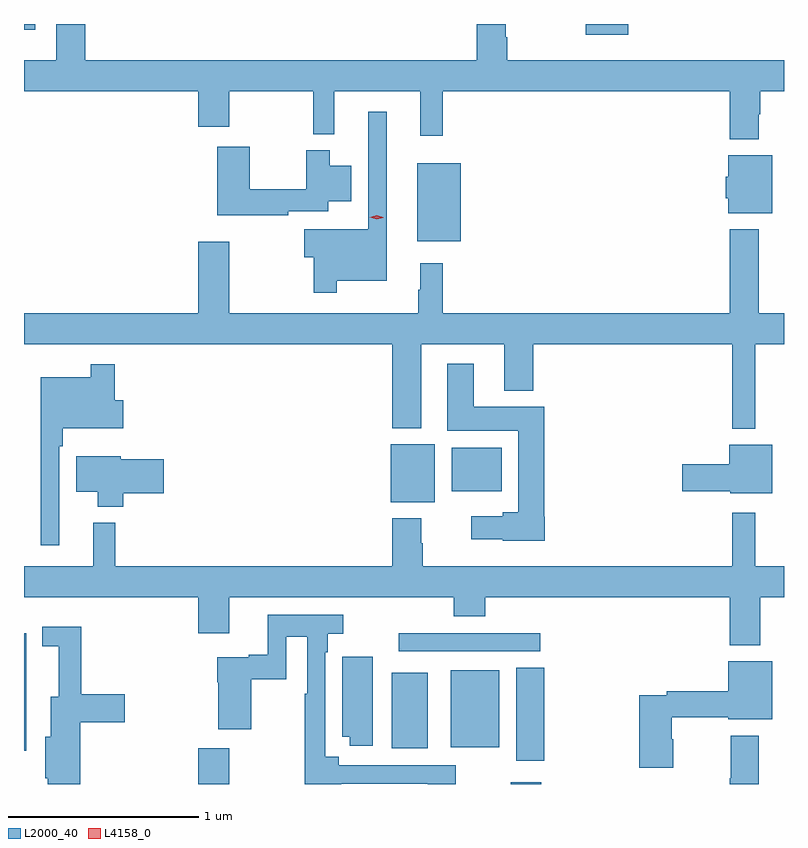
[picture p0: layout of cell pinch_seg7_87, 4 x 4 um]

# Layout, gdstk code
import gdstk
lib = gdstk.Library(unit=1e-6, precision=1e-09)
def R(c, l, rs):  # rectangles x0, y0, x1, y1
    for r in rs: c.add(gdstk.rectangle(r[:2], r[2:], *l))
def P(c, l, *ps):  # polygons
    for p in ps: c.add(gdstk.Polygon(p, *l))
L2000_40 = (2000, 40)
L4158_0 = (4158, 0)

pinch_seg7_87 = lib.new_cell('pinch_seg7_87')
R(pinch_seg7_87, L2000_40, [(908.264,1012.954,908.428,1013.143), (909.91,1012.954,910.07,1012.963), (909.938,1013.076,910.085,1013.567), (909.284,1013.141,909.472,1013.539), (909.593,1013.147,909.85,1013.554), (909.321,1013.652,910.066,1013.748), (909.278,1014.437,909.511,1014.742), (909.599,1014.494,909.862,1014.724), (909.419,1015.811,909.646,1016.221), (910.304,1016.897,910.529,1016.954), (907.348,1016.924,907.408,1016.954)])
P(pinch_seg7_87, L2000_40, [(911.215,1016.48),(911.223,1016.48),(911.223,1016.6),(911.348,1016.6),(911.348,1016.764),(909.891,1016.764),(909.891,1016.885),(909.883,1016.885),(909.883,1016.954),(909.731,1016.954),(909.731,1016.764),(907.67,1016.764),(907.67,1016.954),(907.517,1016.954),(907.517,1016.764),(907.348,1016.764),(907.348,1016.6),(908.264,1016.6),(908.264,1016.412),(908.428,1016.412),(908.428,1016.6),(908.871,1016.6),(908.871,1016.375),(908.981,1016.375),(908.981,1016.6),(909.434,1016.6),(909.434,1016.367),(909.551,1016.367),(909.551,1016.6),(911.063,1016.6),(911.063,1016.348),(911.215,1016.348)],
  [(908.995,1015.604),(909.256,1015.604),(909.256,1016.491),(909.159,1016.491),(909.159,1015.873),(908.822,1015.873),(908.822,1015.726),(908.874,1015.726),(908.874,1015.539),(908.995,1015.539)],
  [(908.738,1015.968),(908.95,1015.968),(908.95,1016.021),(909.07,1016.021),(909.07,1016.209),(908.956,1016.209),(908.956,1016.29),(908.834,1016.29),(908.834,1016.084),(908.536,1016.084),(908.536,1016.308),(908.366,1016.308),(908.366,1015.948),(908.738,1015.948)],
  [(911.287,1016.263),(911.054,1016.263),(911.054,1016.151),(911.042,1016.151),(911.042,1016.037),(911.054,1016.037),(911.054,1015.958),(911.287,1015.958)],
  [(911.197,1015.268),(911.348,1015.268),(911.348,1015.432),(911.215,1015.432),(911.215,1015.873),(911.063,1015.873),(911.063,1015.432),(909.551,1015.432),(909.551,1015.696),(909.434,1015.696),(909.434,1015.556),(909.423,1015.556),(909.423,1015.432),(908.428,1015.432),(908.428,1015.807),(908.264,1015.807),(908.264,1015.432),(907.348,1015.432),(907.348,1015.268),(909.287,1015.268),(909.287,1014.827),(909.439,1014.827),(909.439,1015.268),(909.875,1015.268),(909.875,1015.025),(910.028,1015.025),(910.028,1015.268),(911.076,1015.268),(911.076,1014.824),(911.197,1014.824)],
  [(910.09,1014.36),(910.085,1014.36),(910.085,1014.94),(909.715,1014.94),(909.715,1015.165),(909.575,1015.165),(909.575,1014.812),(909.95,1014.812),(909.95,1014.385),(909.867,1014.385),(909.867,1014.364),(909.702,1014.364),(909.702,1014.242),(909.867,1014.242),(909.867,1014.233),(910.09,1014.233)],
  [(907.533,1014.731),(907.553,1014.731),(907.553,1014.827),(907.87,1014.827),(907.87,1014.975),(907.826,1014.975),(907.826,1015.162),(907.698,1015.162),(907.698,1015.096),(907.436,1015.096),(907.436,1014.21),(907.533,1014.21)],
  [(911.287,1014.739),(911.06,1014.739),(911.06,1014.638),(910.812,1014.638),(910.812,1014.496),(911.064,1014.496),(911.064,1014.485),(911.287,1014.485)],
  [(907.871,1014.484),(908.083,1014.484),(908.083,1014.662),(907.858,1014.662),(907.858,1014.679),(907.622,1014.679),(907.622,1014.491),(907.736,1014.491),(907.736,1014.413),(907.871,1014.413)],
  [(911.223,1013.936),(911.348,1013.936),(911.348,1014.1),(911.197,1014.1),(911.197,1014.382),(911.076,1014.382),(911.076,1014.1),(909.447,1014.1),(909.447,1014.221),(909.439,1014.221),(909.439,1014.352),(909.287,1014.352),(909.287,1014.1),(907.829,1014.1),(907.829,1014.328),(907.712,1014.328),(907.712,1014.1),(907.348,1014.1),(907.348,1013.936),(908.264,1013.936),(908.264,1013.748),(908.428,1013.748),(908.428,1013.936),(909.611,1013.936),(909.611,1013.837),(909.776,1013.837),(909.776,1013.936),(911.063,1013.936),(911.063,1013.684),(911.223,1013.684)],
  [(909.019,1012.956),(909.473,1012.956),(909.473,1012.954),(909.621,1012.954),(909.621,1013.052),(909.004,1013.052),(909.004,1013.098),(908.934,1013.098),(908.934,1013.648),(908.946,1013.648),(908.946,1013.744),(909.028,1013.744),(909.028,1013.844),(908.63,1013.844),(908.63,1013.635),(908.532,1013.635),(908.532,1013.622),(908.366,1013.622),(908.366,1013.489),(908.371,1013.489),(908.371,1013.241),(908.544,1013.241),(908.544,1013.506),(908.727,1013.506),(908.727,1013.728),(908.838,1013.728),(908.838,1013.429),(908.826,1013.429),(908.826,1012.954),(909.019,1012.954)],
  [(907.643,1013.279),(907.879,1013.279),(907.879,1013.426),(907.649,1013.426),(907.649,1013.782),(907.444,1013.782),(907.444,1013.68),(907.532,1013.68),(907.532,1013.413),(907.49,1013.413),(907.49,1013.202),(907.46,1013.202),(907.46,1012.984),(907.472,1012.984),(907.472,1012.954),(907.643,1012.954)],
  [(907.36,1013.645),(907.359,1013.645),(907.359,1013.748),(907.348,1013.748),(907.348,1013.129),(907.36,1013.129)],
  [(909.184,1013.623),(909.023,1013.623),(909.023,1013.204),(909.062,1013.204),(909.062,1013.155),(909.184,1013.155)],
  [(910.764,1013.19),(910.756,1013.19),(910.756,1013.305),(911.054,1013.305),(911.054,1013.294),(911.287,1013.294),(911.287,1013.599),(911.054,1013.599),(911.054,1013.441),(910.732,1013.441),(910.732,1013.421),(910.586,1013.421),(910.586,1013.04),(910.764,1013.04)],
  [(911.215,1013.209),(911.068,1013.209),(911.068,1012.983),(911.063,1012.983),(911.063,1012.954),(911.215,1012.954)])
P(pinch_seg7_87, L4158_0, [(909.204,1015.927),(909.169,1015.938),(909.169,1015.938),(909.169,1015.938),(909.205,1015.947),(909.24,1015.936),(909.24,1015.936),(909.24,1015.935)])

lib.write_gds('pinch_seg7_87.gds')
